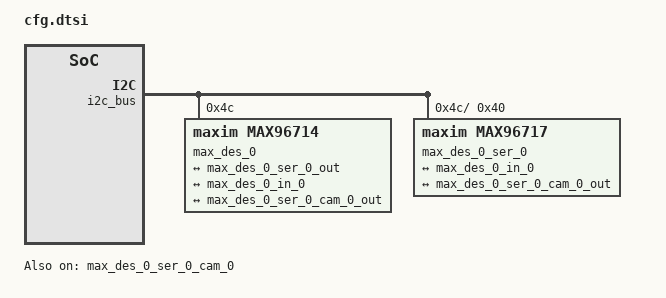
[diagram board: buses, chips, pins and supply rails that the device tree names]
&i2c_bus {
	max_des_0: gmsl-deserializer@4c {
		#address-cells = <1>;
		#size-cells = <0>;

		compatible = "maxim,max96714";
		reg = <0x4c>;
	};
};

&max_des_0 {
	ports {
		#address-cells = <1>;
		#size-cells = <0>;
	};
};

&max_des_0 {
	max_des_0_i2c_0: i2c-gate {
		#address-cells = <1>;
		#size-cells = <0>;
	};
};

&max_des_0_i2c_0 {
	max_des_0_ser_0: gmsl-serializer@40 {
		#address-cells = <1>;
		#size-cells = <0>;
		#gpio-cells = <2>;

		compatible = "maxim,max96717";
		reg = <0x40>;

		gpio-controller;
		gpio-ranges = <&max_des_0_ser_0 0 0 11>;
	};
};

&max_des_0_ser_0 {
	i2c-alias-pool = <0x50 0x51>;

	i2c-atr {
		#address-cells = <1>;
		#size-cells = <0>;

		max_des_0_ser_0_i2c_0: i2c@0 {
			#address-cells = <1>;
			#size-cells = <0>;
			reg = <0x0>;
		};
	};

	ports {
		#address-cells = <1>;
		#size-cells = <0>;

		port@1 {
			reg = <1>;

			max_des_0_ser_0_out: endpoint {
				remote-endpoint = <&max_des_0_in_0>;
			};
		};
	};
};

&max_des_0 {
	ports {
		port@0 {
			reg = <0x0>;

			max_des_0_in_0: endpoint {
				remote-endpoint = <&max_des_0_ser_0_out>;
			};
		};
	};
};

#define i2c_csi_dsi0 max_des_0_ser_0_i2c_0
#define cam_node max_des_0_ser_0_cam_0
#define cam_endpoint max_des_0_ser_0_cam_0_out
#define vcm max_des_0_ser_0_vcm_0
#include "rpi5-csi0-imx219.dtsi"
#undef vcm
#undef cam_node
#undef cam_endpoint
#undef i2c_csi_dsi0

&max_des_0_ser_0_cam_0 {
	status = "okay";

	reset-gpios = <&max_des_0_ser_0 0 GPIO_ACTIVE_HIGH>;
};

&max_des_0_ser_0_cam_0_out {
	remote-endpoint = <&max_des_0_ser_0_in_0>;
};

&max_des_0_ser_0 {
	ports {
		port@0 {
			reg = <0>;

			max_des_0_ser_0_in_0: endpoint {
				remote-endpoint = <&max_des_0_ser_0_cam_0_out>;
			};
		};
	};
};

&max_des_0_ser_0_in_0 {
	clock-lanes = <0>;
	data-lanes = <1 2>;
	clock-noncontinuous;
	link-frequencies = /bits/ 64 <456000000>;
};
